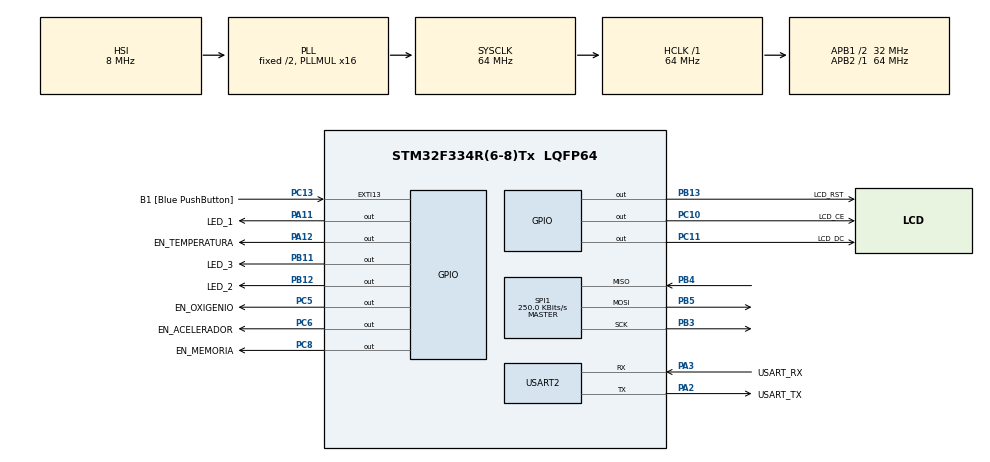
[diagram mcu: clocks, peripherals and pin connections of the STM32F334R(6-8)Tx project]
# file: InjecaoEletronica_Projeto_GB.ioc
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FREERTOS.Mutexes01=MtxAcelerador,Dynamic,NULL;MtxQntCombustivel,Dynamic,NULL;MtxInformacoes,Dynamic,NULL;MtxSPI,Dynamic,NULL
FREERTOS.Tasks01=taskLeituraAcel,2,128,StartLeituraAcel,Default,NULL,Dynamic,NULL,NULL;taskProcessamen,2,128,StartProcessamen,Default,NULL,Dynamic,NULL,NULL;taskAcionamento,2,128,StartAcionamento,Default,NULL,Dynamic,NULL,NULL;taskEscritaDisp,-3,128,StartEscritaDisplay,Default,NULL,Dynamic,NULL,NULL
FREERTOS.configTOTAL_HEAP_SIZE=4808
FREERTOS.configUSE_COUNTING_SEMAPHORES=1
FREERTOS.configUSE_RECURSIVE_MUTEXES=1
Mcu.Family=STM32F3
Mcu.Name=STM32F334R(6-8)Tx
Mcu.Package=LQFP64
NVIC.PriorityGroup=NVIC_PRIORITYGROUP_4
PA11.GPIO_Label=LED_1
PA11.Signal=GPIO_Output
PA12.GPIO_Label=EN_TEMPERATURA
PA12.Signal=GPIO_Output
PA13.GPIO_Label=TMS
PA13.Mode=Serial_Wire
PA13.Signal=SYS_JTMS-SWDIO
PA14.GPIO_Label=TCK
PA14.Mode=Serial_Wire
PA14.Signal=SYS_JTCK-SWCLK
PA2.GPIO_Label=USART_TX
PA2.Mode=Asynchronous
PA2.Signal=USART2_TX
PA3.GPIO_Label=USART_RX
PA3.Mode=Asynchronous
PA3.Signal=USART2_RX
PB11.GPIO_Label=LED_3
PB11.Signal=GPIO_Output
PB12.GPIO_Label=LED_2
PB12.Signal=GPIO_Output
PB13.GPIO_Label=LCD_RST
PB13.Signal=GPIO_Output
PB3.Mode=Full_Duplex_Master
PB3.Signal=SPI1_SCK
PB4.Mode=Full_Duplex_Master
PB4.Signal=SPI1_MISO
PB5.Mode=Full_Duplex_Master
PB5.Signal=SPI1_MOSI
PC10.GPIO_Label=LCD_CE
PC10.Signal=GPIO_Output
PC11.GPIO_Label=LCD_DC
PC11.Signal=GPIO_Output
PC13.GPIO_Label=B1 [Blue PushButton]
PC13.GPIO_ModeDefaultEXTI=GPIO_MODE_IT_FALLING
PC13.Signal=GPXTI13
PC14\ /\ OSC32_IN.Mode=LSE-External-Oscillator
PC14\ /\ OSC32_IN.Signal=RCC_OSC32_IN
PC15\ /\ OSC32_OUT.GPIO_Label=RCC_OSC32_OUT
PC15\ /\ OSC32_OUT.Mode=LSE-External-Oscillator
PC15\ /\ OSC32_OUT.Signal=RCC_OSC32_OUT
PC5.GPIO_Label=EN_OXIGENIO
PC5.Signal=GPIO_Output
PC6.GPIO_Label=EN_ACELERADOR
PC6.Signal=GPIO_Output
PC8.GPIO_Label=EN_MEMORIA
PC8.Signal=GPIO_Output
PF0\ /\ OSC_IN.Mode=HSE-External-Clock-Source
PF0\ /\ OSC_IN.Signal=RCC_OSC_IN
PF1\ /\ OSC_OUT.Signal=RCC_OSC_OUT
ProjectManager.HeapSize=0x200
ProjectManager.StackSize=0x400
ProjectManager.TargetToolchain=STM32CubeIDE
RCC.AHBFreq_Value=64000000
RCC.APB1CLKDivider=RCC_HCLK_DIV2
RCC.APB1Freq_Value=32000000
RCC.APB1TimFreq_Value=64000000
RCC.APB2Freq_Value=64000000
RCC.APB2TimFreq_Value=64000000
RCC.CortexFreq_Value=64000000
RCC.FLatency-AdvancedSettings=FLASH_LATENCY_2
RCC.HCLKFreq_Value=64000000
RCC.HSE_VALUE=8000000
RCC.HSI_VALUE=8000000
RCC.PLLMUL=RCC_PLL_MUL16
RCC.SYSCLKFreq_VALUE=64000000
RCC.SYSCLKSourceVirtual=RCC_SYSCLKSOURCE_PLLCLK
SPI1.BaudRatePrescaler=SPI_BAUDRATEPRESCALER_256
SPI1.CalculateBaudRate=250.0 KBits/s
SPI1.DataSize=SPI_DATASIZE_8BIT
SPI1.Direction=SPI_DIRECTION_2LINES
SPI1.Mode=SPI_MODE_MASTER
SPI1.VirtualType=VM_MASTER
USART2.VirtualMode-Asynchronous=VM_ASYNC
VP_FREERTOS_VS_CMSIS_V1.Mode=CMSIS_V1
board=NUCLEO-F334R8

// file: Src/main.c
/* USER CODE BEGIN Header */
/**
  ******************************************************************************
  * @file           : main.c
  * @brief          : Main program body
  ******************************************************************************
  * @attention
  *
  * <h2><center>&copy; Copyright (c) 2019 STMicroelectronics.
  * All rights reserved.</center></h2>
  *
  * This software component is licensed by ST under BSD 3-Clause license,
  * the "License"; You may not use this file except in compliance with the
  * License. You may obtain a copy of the License at:
  *                        opensource.org/licenses/BSD-3-Clause
  *
  ******************************************************************************
  */
/* USER CODE END Header */

#include "main.h"
#include "cmsis_os.h"

/* USER CODE BEGIN Includes */
#include "stm32f3xx_hal.h"
#include "user_5110.h"
/* USER CODE END Includes */

SPI_HandleTypeDef hspi1;

UART_HandleTypeDef huart2;

osThreadId taskLeituraAcelHandle;
osThreadId taskProcessamenHandle;
osThreadId taskAcionamentoHandle;
osThreadId taskEscritaDispHandle;
osMutexId MtxAceleradorHandle;
osMutexId MtxQntCombustivelHandle;
osMutexId MtxInformacoesHandle;
osMutexId MtxSPIHandle;

void SystemClock_Config(void);
static void MX_GPIO_Init(void);
static void MX_USART2_UART_Init(void);
static void MX_SPI1_Init(void);
void StartLeituraAcel(void const * argument);
void StartProcessamen(void const * argument);
void StartAcionamento(void const * argument);
void StartEscritaDisplay(void const * argument);

/* USER CODE BEGIN 0 */
int aceleradorGlobal;
int sensorOxg_TempGlobal[2];
int qntCombustivelGlobal;
int informacoesGlobal[2];
int constantesGlobal[3];

/* USER CODE END 0 */

int main(void)
{

  /* MCU Configuration--------------------------------------------------------*/

  /* Reset of all peripherals, Initializes the Flash interface and the Systick. */
  HAL_Init();

  /* Configure the system clock */
  SystemClock_Config();

  /* Initialize all configured peripherals */
  MX_GPIO_Init();
  MX_USART2_UART_Init();
  MX_SPI1_Init();

  /* Create the mutex(es) */
  /* definition and creation of MtxAcelerador */
  osMutexDef(MtxAcelerador);
  MtxAceleradorHandle = osMutexCreate(osMutex(MtxAcelerador));

  /* definition and creation of MtxQntCombustivel */
  osMutexDef(MtxQntCombustivel);
  MtxQntCombustivelHandle = osMutexCreate(osMutex(MtxQntCombustivel));

  /* definition and creation of MtxInformacoes */
  osMutexDef(MtxInformacoes);
  MtxInformacoesHandle = osMutexCreate(osMutex(MtxInformacoes));

  /* definition and creation of MtxSPI */
  osMutexDef(MtxSPI);
  MtxSPIHandle = osMutexCreate(osMutex(MtxSPI));

  /* Create the thread(s) */
  /* definition and creation of taskLeituraAcel */
  osThreadDef(taskLeituraAcel, StartLeituraAcel, osPriorityHigh, 0, 128);
  taskLeituraAcelHandle = osThreadCreate(osThread(taskLeituraAcel), NULL);

  /* definition and creation of taskProcessamen */
  osThreadDef(taskProcessamen, StartProcessamen, osPriorityHigh, 0, 128);
  taskProcessamenHandle = osThreadCreate(osThread(taskProcessamen), NULL);

  /* definition and creation of taskAcionamento */
  osThreadDef(taskAcionamento, StartAcionamento, osPriorityHigh, 0, 128);
  taskAcionamentoHandle = osThreadCreate(osThread(taskAcionamento), NULL);

  /* definition and creation of taskEscritaDisp */
  osThreadDef(taskEscritaDisp, StartEscritaDisplay, osPriorityHigh, 0, 128);
  taskEscritaDispHandle = osThreadCreate(osThread(taskEscritaDisp), NULL);

  /* USER CODE BEGIN RTOS_THREADS */
  /* add threads, ... */
  osMutexWait(MtxSPIHandle, 1000);
  LCD_Init();
  LCD_Write_String(0, 0, "Teste");
  osMutexRelease(MtxSPIHandle);
  /* USER CODE END RTOS_THREADS */

  /* Start scheduler */
  osKernelStart();

  /* We should never get here as control is now taken by the scheduler */

  /* Infinite loop */
  while (1)
  {

  }
}

void SystemClock_Config(void)
{
  RCC_OscInitTypeDef RCC_OscInitStruct = {0};
  RCC_ClkInitTypeDef RCC_ClkInitStruct = {0};

  /** Initializes the CPU, AHB and APB busses clocks
  */
  RCC_OscInitStruct.OscillatorType = RCC_OSCILLATORTYPE_HSI;
  RCC_OscInitStruct.HSIState = RCC_HSI_ON;
  RCC_OscInitStruct.HSICalibrationValue = RCC_HSICALIBRATION_DEFAULT;
  RCC_OscInitStruct.PLL.PLLState = RCC_PLL_ON;
  RCC_OscInitStruct.PLL.PLLSource = RCC_PLLSOURCE_HSI;
  RCC_OscInitStruct.PLL.PLLMUL = RCC_PLL_MUL16;
  if (HAL_RCC_OscConfig(&RCC_OscInitStruct) != HAL_OK)
  {
    Error_Handler();
  }
  /** Initializes the CPU, AHB and APB busses clocks
  */
  RCC_ClkInitStruct.ClockType = RCC_CLOCKTYPE_HCLK|RCC_CLOCKTYPE_SYSCLK
                              |RCC_CLOCKTYPE_PCLK1|RCC_CLOCKTYPE_PCLK2;
  RCC_ClkInitStruct.SYSCLKSource = RCC_SYSCLKSOURCE_PLLCLK;
  RCC_ClkInitStruct.AHBCLKDivider = RCC_SYSCLK_DIV1;
  RCC_ClkInitStruct.APB1CLKDivider = RCC_HCLK_DIV2;
  RCC_ClkInitStruct.APB2CLKDivider = RCC_HCLK_DIV1;

  if (HAL_RCC_ClockConfig(&RCC_ClkInitStruct, FLASH_LATENCY_2) != HAL_OK)
  {
    Error_Handler();
  }
}

static void MX_SPI1_Init(void)
{

  /* SPI1 parameter configuration*/
  hspi1.Instance = SPI1;
  hspi1.Init.Mode = SPI_MODE_MASTER;
  hspi1.Init.Direction = SPI_DIRECTION_2LINES;
  hspi1.Init.DataSize = SPI_DATASIZE_8BIT;
  hspi1.Init.CLKPolarity = SPI_POLARITY_LOW;
  hspi1.Init.CLKPhase = SPI_PHASE_1EDGE;
  hspi1.Init.NSS = SPI_NSS_SOFT;
  hspi1.Init.BaudRatePrescaler = SPI_BAUDRATEPRESCALER_256;
  hspi1.Init.FirstBit = SPI_FIRSTBIT_MSB;
  hspi1.Init.TIMode = SPI_TIMODE_DISABLE;
  hspi1.Init.CRCCalculation = SPI_CRCCALCULATION_DISABLE;
  hspi1.Init.CRCPolynomial = 7;
  hspi1.Init.CRCLength = SPI_CRC_LENGTH_DATASIZE;
  hspi1.Init.NSSPMode = SPI_NSS_PULSE_ENABLE;
  if (HAL_SPI_Init(&hspi1) != HAL_OK)
  {
    Error_Handler();
  }

}

static void MX_USART2_UART_Init(void)
{

  huart2.Instance = USART2;
  huart2.Init.BaudRate = 38400;
  huart2.Init.WordLength = UART_WORDLENGTH_8B;
  huart2.Init.StopBits = UART_STOPBITS_1;
  huart2.Init.Parity = UART_PARITY_NONE;
  huart2.Init.Mode = UART_MODE_TX_RX;
  huart2.Init.HwFlowCtl = UART_HWCONTROL_NONE;
  huart2.Init.OverSampling = UART_OVERSAMPLING_16;
  huart2.Init.OneBitSampling = UART_ONE_BIT_SAMPLE_DISABLE;
  huart2.AdvancedInit.AdvFeatureInit = UART_ADVFEATURE_NO_INIT;
  if (HAL_UART_Init(&huart2) != HAL_OK)
  {
    Error_Handler();
  }

}

static void MX_GPIO_Init(void)
{
  GPIO_InitTypeDef GPIO_InitStruct = {0};

  /* GPIO Ports Clock Enable */
  __HAL_RCC_GPIOC_CLK_ENABLE();
  __HAL_RCC_GPIOF_CLK_ENABLE();
  __HAL_RCC_GPIOA_CLK_ENABLE();
  __HAL_RCC_GPIOB_CLK_ENABLE();

  /*Configure GPIO pin Output Level */
  HAL_GPIO_WritePin(GPIOC, EN_OXIGENIO_Pin|EN_ACELERADOR_Pin|EN_MEMORIA_Pin|LCD_CE_Pin
                          |LCD_DC_Pin, GPIO_PIN_RESET);

  /*Configure GPIO pin Output Level */
  HAL_GPIO_WritePin(GPIOB, LED_3_Pin|LED_2_Pin|LCD_RST_Pin, GPIO_PIN_RESET);

  /*Configure GPIO pin Output Level */
  HAL_GPIO_WritePin(GPIOA, LED_1_Pin|EN_TEMPERATURA_Pin, GPIO_PIN_RESET);

  /*Configure GPIO pin : B1_Pin */
  GPIO_InitStruct.Pin = B1_Pin;
  GPIO_InitStruct.Mode = GPIO_MODE_IT_FALLING;
  GPIO_InitStruct.Pull = GPIO_NOPULL;
  HAL_GPIO_Init(B1_GPIO_Port, &GPIO_InitStruct);

  /*Configure GPIO pins : EN_OXIGENIO_Pin EN_ACELERADOR_Pin EN_MEMORIA_Pin LCD_CE_Pin
                           LCD_DC_Pin */
  GPIO_InitStruct.Pin = EN_OXIGENIO_Pin|EN_ACELERADOR_Pin|EN_MEMORIA_Pin|LCD_CE_Pin
                          |LCD_DC_Pin;
  GPIO_InitStruct.Mode = GPIO_MODE_OUTPUT_PP;
  GPIO_InitStruct.Pull = GPIO_NOPULL;
  GPIO_InitStruct.Speed = GPIO_SPEED_FREQ_LOW;
  HAL_GPIO_Init(GPIOC, &GPIO_InitStruct);

  /*Configure GPIO pins : LED_3_Pin LED_2_Pin LCD_RST_Pin */
  GPIO_InitStruct.Pin = LED_3_Pin|LED_2_Pin|LCD_RST_Pin;
  GPIO_InitStruct.Mode = GPIO_MODE_OUTPUT_PP;
  GPIO_InitStruct.Pull = GPIO_NOPULL;
  GPIO_InitStruct.Speed = GPIO_SPEED_FREQ_LOW;
  HAL_GPIO_Init(GPIOB, &GPIO_InitStruct);

  /*Configure GPIO pins : LED_1_Pin EN_TEMPERATURA_Pin */
  GPIO_InitStruct.Pin = LED_1_Pin|EN_TEMPERATURA_Pin;
  GPIO_InitStruct.Mode = GPIO_MODE_OUTPUT_PP;
  GPIO_InitStruct.Pull = GPIO_NOPULL;
  GPIO_InitStruct.Speed = GPIO_SPEED_FREQ_LOW;
  HAL_GPIO_Init(GPIOA, &GPIO_InitStruct);

}

void StartLeituraAcel(void const * argument)
{

  /* USER CODE BEGIN 5 */
	uint8_t aceleradorSPI = 0;
	int aceleradorLocal = 0;
	uint8_t sensorOxg_TempSPI[2];
	int sensorOxg_TempLocal[2];

	uint8_t transmissao[100];

  /* Infinite loop */
  for(;;)
  {
	  aceleradorLocal = 0;
	  osMutexWait(MtxSPIHandle, 1000);
	  HAL_GPIO_WritePin(EN_ACELERADOR_GPIO_Port, EN_ACELERADOR_Pin, 0);
	  HAL_SPI_Receive(&hspi1, &aceleradorSPI, 1, 1000);
	  HAL_GPIO_WritePin(EN_ACELERADOR_GPIO_Port, EN_ACELERADOR_Pin, 1);
	  osMutexRelease(MtxSPIHandle);

	  if(aceleradorSPI > 128 ) {
		  aceleradorLocal = ((- 128 + ((int) aceleradorSPI ))*1.58);

		  sprintf(transmissao, "valor Acelerador lido: %d\r\n", aceleradorLocal);
		  HAL_UART_Transmit(&huart2, transmissao, strlen(transmissao), 1000);

		  osMutexWait(MtxAceleradorHandle, 100);
		  aceleradorGlobal = aceleradorLocal;
		  osMutexRelease(MtxAceleradorHandle);
	  }
	  // ===============================================

	  sensorOxg_TempLocal[0] = 0;
	  sensorOxg_TempLocal[1] = 0;

	  osMutexWait(MtxSPIHandle, 1000);
	  HAL_GPIO_WritePin(EN_OXIGENIO_GPIO_Port, EN_OXIGENIO_Pin, 0);
	  HAL_SPI_Receive(&hspi1, &sensorOxg_TempSPI[0], 1, 1000);
	  HAL_GPIO_WritePin(EN_OXIGENIO_GPIO_Port, EN_OXIGENIO_Pin, 1);
	  osMutexRelease(MtxSPIHandle);

	  if(sensorOxg_TempSPI[0] > 128){

		  sensorOxg_TempLocal[0] =  ((- 128 + ((int) sensorOxg_TempSPI[0] ))*1.58);

		  sprintf (transmissao, "valor Oxigenio lido: %d\r\n", sensorOxg_TempLocal[0]);
		  HAL_UART_Transmit(&huart2, transmissao, strlen(transmissao), 1000);

		  osMutexWait(MtxAceleradorHandle, 100);
		  sensorOxg_TempGlobal[0] = sensorOxg_TempLocal[0];
		  osMutexRelease(MtxAceleradorHandle);
	  }

	  osMutexWait(MtxSPIHandle, 1000);
	  HAL_GPIO_WritePin(EN_TEMPERATURA_GPIO_Port, EN_TEMPERATURA_Pin, 0);
	  HAL_SPI_Receive(&hspi1, &sensorOxg_TempSPI[1], 1, 1000);
	  HAL_GPIO_WritePin(EN_TEMPERATURA_GPIO_Port, EN_TEMPERATURA_Pin, 1);
	  osMutexRelease(MtxSPIHandle);

	  if(sensorOxg_TempSPI[1] > 128) {

		  sensorOxg_TempLocal[1] =  ((- 128 + ((int) sensorOxg_TempSPI[1] ))*1.58);

		  sprintf (transmissao, "valor Temperatura lido: %d\r\n", sensorOxg_TempLocal[1]);
		  HAL_UART_Transmit(&huart2, transmissao, strlen(transmissao), 1000);

		  osMutexWait(MtxAceleradorHandle, 100);
		  sensorOxg_TempGlobal[1] = sensorOxg_TempLocal[1];
		  osMutexRelease(MtxAceleradorHandle);
	  }
	  osDelay(10);
  }
  /* USER CODE END 5 */
}

void StartProcessamen(void const * argument)
{
  /* USER CODE BEGIN StartProcessamen */
	int aceleracaoLocal;
	int temperaturaLocal;
	int oxigenioLocal;
	int qntCombustivelLocal;
	int constantesLocal[3];

  /* Infinite loop */
  for(;;)
  {
	osMutexWait(MtxAceleradorHandle, 1000);
	aceleracaoLocal = aceleradorGlobal;
	oxigenioLocal = sensorOxg_TempGlobal[0];
	temperaturaLocal = sensorOxg_TempGlobal[1];
	osMutexRelease(MtxAceleradorHandle);

	qntCombustivelLocal = (aceleracaoLocal * 5) + (3 * (100 - oxigenioLocal)) + (temperaturaLocal * 2);

	osMutexWait(MtxQntCombustivelHandle, 1000);
	qntCombustivelGlobal = qntCombustivelLocal;
	osMutexRelease(MtxQntCombustivelHandle);

	osMutexWait(MtxInformacoesHandle, 1000);
	informacoesGlobal[0] = qntCombustivelGlobal;
	informacoesGlobal[1] = 222;
	osMutexRelease(MtxInformacoesHandle);

	osDelay(10);

  }
  /* USER CODE END StartProcessamen */
}

void StartAcionamento(void const * argument)
{
  /* USER CODE BEGIN StartAcionamento */
	int qntCombustivelLocal;
  /* Infinite loop */
  for(;;)
  {
	osMutexWait(MtxQntCombustivelHandle, 1000);
	qntCombustivelLocal = qntCombustivelGlobal;
	osMutexRelease(MtxQntCombustivelHandle);

	if(qntCombustivelLocal < 330) {
	  HAL_GPIO_WritePin(LED_1_GPIO_Port, LED_1_Pin, 1);
	  HAL_GPIO_WritePin(LED_2_GPIO_Port, LED_2_Pin, 0);
	  HAL_GPIO_WritePin(LED_3_GPIO_Port, LED_3_Pin, 0);
	}

	if(qntCombustivelLocal < 660 && qntCombustivelLocal >= 330) {
	  HAL_GPIO_WritePin(LED_1_GPIO_Port, LED_1_Pin, 0);
	  HAL_GPIO_WritePin(LED_2_GPIO_Port, LED_2_Pin, 1);
	  HAL_GPIO_WritePin(LED_3_GPIO_Port, LED_3_Pin, 0);
	}

	if(qntCombustivelLocal >= 660) {
	  HAL_GPIO_WritePin(LED_1_GPIO_Port, LED_1_Pin, 0);
	  HAL_GPIO_WritePin(LED_2_GPIO_Port, LED_2_Pin, 0);
	  HAL_GPIO_WritePin(LED_3_GPIO_Port, LED_3_Pin, 1);
	}

    osDelay(10);
  }
  /* USER CODE END StartAcionamento */
}

void StartEscritaDisplay(void const * argument)
{
  /* USER CODE BEGIN StartEscritaDisplay */
	int informacoesLocal[2];
	uint8_t bufferOxigenio[50];
	uint8_t bufferAcelerador[50];
  /* Infinite loop */
  for(;;)
  {
	  osMutexWait(MtxInformacoesHandle, 1000);
	  informacoesLocal[0] = informacoesGlobal[0];
	  informacoesLocal[1] = informacoesGlobal[1];
	  osMutexRelease(MtxInformacoesHandle);

	  sprintf(bufferAcelerador, "Resultado Injecao: %d\r\n", informacoesLocal[0]);
	  sprintf(bufferOxigenio, "Teste: %d\r\n\r\n", informacoesLocal[1]);

//	  HAL_UART_Transmit(&huart2, bufferAcelerador, 25, 1000);
//	  HAL_UART_Transmit(&huart2, bufferOxigenio, 17, 1000);

	  osMutexWait(MtxSPIHandle, 1000);
	  LCD_Write_String(0, 0, bufferAcelerador);
	  osMutexRelease(MtxSPIHandle);
//	  LCD_Write_String(0, 1, bufferOxigenio);
	  osDelay(1000);
  }
  /* USER CODE END StartEscritaDisplay */
}

void Error_Handler(void)
{
}

/************************ (C) COPYRIGHT STMicroelectronics *****END OF FILE****/
